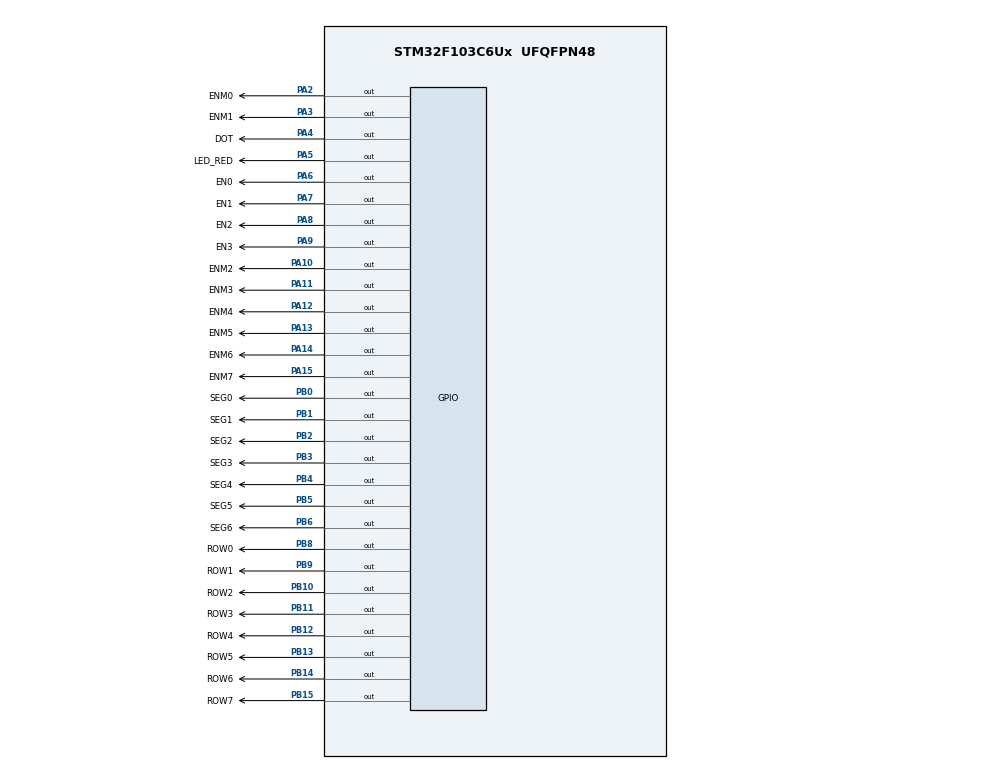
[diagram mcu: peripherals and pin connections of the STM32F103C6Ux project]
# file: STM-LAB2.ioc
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Mcu.Family=STM32F1
Mcu.Name=STM32F103C6Ux
Mcu.Package=UFQFPN48
NVIC.PriorityGroup=NVIC_PRIORITYGROUP_4
NVIC.TIM2_IRQn=true\:0\:0\:false\:false\:true\:true\:true
PA10.GPIO_Label=ENM2
PA10.Signal=GPIO_Output
PA11.GPIO_Label=ENM3
PA11.Signal=GPIO_Output
PA12.GPIO_Label=ENM4
PA12.Signal=GPIO_Output
PA13.GPIO_Label=ENM5
PA13.Signal=GPIO_Output
PA14.GPIO_Label=ENM6
PA14.Signal=GPIO_Output
PA15.GPIO_Label=ENM7
PA15.Signal=GPIO_Output
PA2.GPIO_Label=ENM0
PA2.Signal=GPIO_Output
PA3.GPIO_Label=ENM1
PA3.Signal=GPIO_Output
PA4.GPIO_Label=DOT
PA4.Signal=GPIO_Output
PA5.GPIO_Label=LED_RED
PA5.Signal=GPIO_Output
PA6.GPIO_Label=EN0
PA6.Signal=GPIO_Output
PA7.GPIO_Label=EN1
PA7.Signal=GPIO_Output
PA8.GPIO_Label=EN2
PA8.Signal=GPIO_Output
PA9.GPIO_Label=EN3
PA9.Signal=GPIO_Output
PB0.GPIO_Label=SEG0
PB0.Signal=GPIO_Output
PB1.GPIO_Label=SEG1
PB1.Signal=GPIO_Output
PB10.GPIO_Label=ROW2
PB10.Signal=GPIO_Output
PB11.GPIO_Label=ROW3
PB11.Signal=GPIO_Output
PB12.GPIO_Label=ROW4
PB12.Signal=GPIO_Output
PB13.GPIO_Label=ROW5
PB13.Signal=GPIO_Output
PB14.GPIO_Label=ROW6
PB14.Signal=GPIO_Output
PB15.GPIO_Label=ROW7
PB15.Signal=GPIO_Output
PB2.GPIO_Label=SEG2
PB2.Signal=GPIO_Output
PB3.GPIO_Label=SEG3
PB3.Signal=GPIO_Output
PB4.GPIO_Label=SEG4
PB4.Signal=GPIO_Output
PB5.GPIO_Label=SEG5
PB5.Signal=GPIO_Output
PB6.GPIO_Label=SEG6
PB6.Signal=GPIO_Output
PB8.GPIO_Label=ROW0
PB8.Signal=GPIO_Output
PB9.GPIO_Label=ROW1
PB9.Signal=GPIO_Output
ProjectManager.HeapSize=0x200
ProjectManager.StackSize=0x400
ProjectManager.TargetToolchain=STM32CubeIDE
RCC.APB1Freq_Value=8000000
RCC.APB2Freq_Value=8000000
TIM2.Prescaler=7999
VP_SYS_VS_ND.Mode=No_Debug
VP_TIM2_VS_ClockSourceINT.Mode=Internal
board=custom

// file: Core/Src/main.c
/* USER CODE BEGIN Header */
/**
  ******************************************************************************
  * @file           : main.c
  * @brief          : Main program body
  ******************************************************************************
  * @attention
  *
  * <h2><center>&copy; Copyright (c) 2025 STMicroelectronics.
  * All rights reserved.</center></h2>
  *
  * This software component is licensed by ST under BSD 3-Clause license,
  * the "License"; You may not use this file except in compliance with the
  * License. You may obtain a copy of the License at:
  *                        opensource.org/licenses/BSD-3-Clause
  *
  ******************************************************************************
  */
/* USER CODE END Header */
#include "main.h"

TIM_HandleTypeDef htim2;

void SystemClock_Config(void);
static void MX_GPIO_Init(void);
static void MX_TIM2_Init(void);
/* USER CODE BEGIN PFP */
void display7SEG(int num);
void update7SEG(int index);
void displayLEDMatrix(int num);
void updateLEDMatrix(uint8_t index);
void LEDMatrixAnimation();
void updateClockBuffer();
void setSegTimer(int duration);
void setDotTimer(int duration);
void setClockTimer(int duration);
void setMatrixTimer(int duration);
void setAnimationTimer(int duration);
void timer_run();
void ledClear();
void matrixClear();
/* USER CODE END PFP */

/* USER CODE BEGIN 0 */
// Define 4 seven-segment states
enum segState {seg0 = 0, seg1 = 1, seg2 = 2, seg3 = 3};
enum segState seg = seg0;
// Create an enable pins array to control all 4 seven-segment
int controll7SegPin[4] = {EN0_Pin, EN1_Pin, EN2_Pin, EN3_Pin};
// Create two arrays to control 8 columns and 8 rows of LED matrix
int colPin[8] = {ENM0_Pin, ENM1_Pin, ENM2_Pin, ENM3_Pin, ENM4_Pin, ENM5_Pin, ENM6_Pin, ENM7_Pin};
int rowPin[8] = {ROW0_Pin, ROW1_Pin, ROW2_Pin, ROW3_Pin, ROW4_Pin, ROW5_Pin, ROW6_Pin, ROW7_Pin};
const int MAX_LED = 4;
const int MAX_LED_MATRIX = 8;
int index_led = 0;
int led_buffer[4] = {1, 2, 3, 4};
int index_led_matrix = 0;
uint8_t matrix_buffer[8] = {0b11100111, 0b11000011, 0b10011001, 0b10011001,
							0b10000001, 0b10000001, 0b10011001, 0b10011001};
int hour = 15, minute = 8, second = 50;
int segTimer_counter = 0;
int segTimer_flag = 0;
int dotTimer_counter = 0;
int dotTimer_flag = 0;
int clockTimer_counter = 0;
int clockTimer_flag = 0;
int matrixTimer_counter = 0;
int matrixTimer_flag = 0;
int animationTimer_counter = 0;
int animationTimer_flag = 0;
int TIMER_CYCLE = 1;

/* USER CODE END 0 */

int main(void)
{

  /* MCU Configuration--------------------------------------------------------*/

  /* Reset of all peripherals, Initializes the Flash interface and the Systick. */
  HAL_Init();

  /* Configure the system clock */
  SystemClock_Config();

  /* Initialize all configured peripherals */
  MX_GPIO_Init();
  MX_TIM2_Init();
  /* USER CODE BEGIN 2 */
  setSegTimer(100);
  setDotTimer(500);
  setClockTimer(1000);
  setMatrixTimer(2);
  setAnimationTimer(100);
  HAL_TIM_Base_Start_IT(&htim2);
  /* USER CODE END 2 */

  /* Infinite loop */
  /* USER CODE BEGIN WHILE */
  while (1)
  {
	  // UPDATE SEVEN-SEGMENTS
	  if (segTimer_flag == 1) {
		  updateClockBuffer();
		  update7SEG(index_led++);
		  if (index_led >= 4) index_led = 0;
		  setSegTimer(100);
	  }
	  // UPDATE LED RED AND DOT
	  if (dotTimer_flag == 1) {
		  HAL_GPIO_TogglePin(DOT_GPIO_Port, DOT_Pin);
		  HAL_GPIO_TogglePin(LED_RED_GPIO_Port, LED_RED_Pin);
		  setDotTimer(500);
	  }
	  // UPDATE CLOCK
	  if (clockTimer_flag == 1) {
		  second++;
		  if (second >= 60) {
			  second = 0;
			  minute++;
		  }
		  if(minute >= 60) {
			  minute = 0;
			  hour++;
		   }
		   if(hour >= 24){
			  hour = 0;
		   }
		  updateClockBuffer();
		  setClockTimer(1000);
	  }
	  // UPDATE LED MATRIX
	  if (matrixTimer_flag == 1) {
		  updateLEDMatrix(index_led_matrix++);
		  if (index_led_matrix > 7) index_led_matrix = 0;
		  setMatrixTimer(2);
	  }
	  // UPDATE LED MATRIX ANIMATION
	  if (animationTimer_flag == 1) {
		  LEDMatrixAnimation();
		  setAnimationTimer(100);
	  }
    /* USER CODE END WHILE */

  }
}

void SystemClock_Config(void)
{
  RCC_OscInitTypeDef RCC_OscInitStruct = {0};
  RCC_ClkInitTypeDef RCC_ClkInitStruct = {0};

  /** Initializes the RCC Oscillators according to the specified parameters
  * in the RCC_OscInitTypeDef structure.
  */
  RCC_OscInitStruct.OscillatorType = RCC_OSCILLATORTYPE_HSI;
  RCC_OscInitStruct.HSIState = RCC_HSI_ON;
  RCC_OscInitStruct.HSICalibrationValue = RCC_HSICALIBRATION_DEFAULT;
  RCC_OscInitStruct.PLL.PLLState = RCC_PLL_NONE;
  if (HAL_RCC_OscConfig(&RCC_OscInitStruct) != HAL_OK)
  {
    Error_Handler();
  }
  /** Initializes the CPU, AHB and APB buses clocks
  */
  RCC_ClkInitStruct.ClockType = RCC_CLOCKTYPE_HCLK|RCC_CLOCKTYPE_SYSCLK
                              |RCC_CLOCKTYPE_PCLK1|RCC_CLOCKTYPE_PCLK2;
  RCC_ClkInitStruct.SYSCLKSource = RCC_SYSCLKSOURCE_HSI;
  RCC_ClkInitStruct.AHBCLKDivider = RCC_SYSCLK_DIV1;
  RCC_ClkInitStruct.APB1CLKDivider = RCC_HCLK_DIV1;
  RCC_ClkInitStruct.APB2CLKDivider = RCC_HCLK_DIV1;

  if (HAL_RCC_ClockConfig(&RCC_ClkInitStruct, FLASH_LATENCY_0) != HAL_OK)
  {
    Error_Handler();
  }
}

static void MX_TIM2_Init(void)
{

  TIM_ClockConfigTypeDef sClockSourceConfig = {0};
  TIM_MasterConfigTypeDef sMasterConfig = {0};

  htim2.Instance = TIM2;
  htim2.Init.Prescaler = 7999;
  htim2.Init.CounterMode = TIM_COUNTERMODE_UP;
  htim2.Init.Period = 9;
  htim2.Init.ClockDivision = TIM_CLOCKDIVISION_DIV1;
  htim2.Init.AutoReloadPreload = TIM_AUTORELOAD_PRELOAD_DISABLE;
  if (HAL_TIM_Base_Init(&htim2) != HAL_OK)
  {
    Error_Handler();
  }
  sClockSourceConfig.ClockSource = TIM_CLOCKSOURCE_INTERNAL;
  if (HAL_TIM_ConfigClockSource(&htim2, &sClockSourceConfig) != HAL_OK)
  {
    Error_Handler();
  }
  sMasterConfig.MasterOutputTrigger = TIM_TRGO_RESET;
  sMasterConfig.MasterSlaveMode = TIM_MASTERSLAVEMODE_DISABLE;
  if (HAL_TIMEx_MasterConfigSynchronization(&htim2, &sMasterConfig) != HAL_OK)
  {
    Error_Handler();
  }

}

static void MX_GPIO_Init(void)
{
  GPIO_InitTypeDef GPIO_InitStruct = {0};

  /* GPIO Ports Clock Enable */
  __HAL_RCC_GPIOA_CLK_ENABLE();
  __HAL_RCC_GPIOB_CLK_ENABLE();

  /*Configure GPIO pin Output Level */
  HAL_GPIO_WritePin(GPIOA, ENM0_Pin|ENM1_Pin|DOT_Pin|LED_RED_Pin
                          |EN0_Pin|EN1_Pin|EN2_Pin|EN3_Pin
                          |ENM2_Pin|ENM3_Pin|ENM4_Pin|ENM5_Pin
                          |ENM6_Pin|ENM7_Pin, GPIO_PIN_RESET);

  /*Configure GPIO pin Output Level */
  HAL_GPIO_WritePin(GPIOB, SEG0_Pin|SEG1_Pin|SEG2_Pin|ROW2_Pin
                          |ROW3_Pin|ROW4_Pin|ROW5_Pin|ROW6_Pin
                          |ROW7_Pin|SEG3_Pin|SEG4_Pin|SEG5_Pin
                          |SEG6_Pin|ROW0_Pin|ROW1_Pin, GPIO_PIN_RESET);

  /*Configure GPIO pins : ENM0_Pin ENM1_Pin DOT_Pin LED_RED_Pin
                           EN0_Pin EN1_Pin EN2_Pin EN3_Pin
                           ENM2_Pin ENM3_Pin ENM4_Pin ENM5_Pin
                           ENM6_Pin ENM7_Pin */
  GPIO_InitStruct.Pin = ENM0_Pin|ENM1_Pin|DOT_Pin|LED_RED_Pin
                          |EN0_Pin|EN1_Pin|EN2_Pin|EN3_Pin
                          |ENM2_Pin|ENM3_Pin|ENM4_Pin|ENM5_Pin
                          |ENM6_Pin|ENM7_Pin;
  GPIO_InitStruct.Mode = GPIO_MODE_OUTPUT_PP;
  GPIO_InitStruct.Pull = GPIO_NOPULL;
  GPIO_InitStruct.Speed = GPIO_SPEED_FREQ_LOW;
  HAL_GPIO_Init(GPIOA, &GPIO_InitStruct);

  /*Configure GPIO pins : SEG0_Pin SEG1_Pin SEG2_Pin ROW2_Pin
                           ROW3_Pin ROW4_Pin ROW5_Pin ROW6_Pin
                           ROW7_Pin SEG3_Pin SEG4_Pin SEG5_Pin
                           SEG6_Pin ROW0_Pin ROW1_Pin */
  GPIO_InitStruct.Pin = SEG0_Pin|SEG1_Pin|SEG2_Pin|ROW2_Pin
                          |ROW3_Pin|ROW4_Pin|ROW5_Pin|ROW6_Pin
                          |ROW7_Pin|SEG3_Pin|SEG4_Pin|SEG5_Pin
                          |SEG6_Pin|ROW0_Pin|ROW1_Pin;
  GPIO_InitStruct.Mode = GPIO_MODE_OUTPUT_PP;
  GPIO_InitStruct.Pull = GPIO_NOPULL;
  GPIO_InitStruct.Speed = GPIO_SPEED_FREQ_LOW;
  HAL_GPIO_Init(GPIOB, &GPIO_InitStruct);

}

/* USER CODE BEGIN 4 */
void HAL_TIM_PeriodElapsedCallback(TIM_HandleTypeDef *htim)
{
	timer_run();
}
void display7SEG(int num) {
		/*
		 * TRUTH TABLE
		 *      dp g f e d c b a
		 * 0 => 1 1 0 0 0 0 0 0 => 0xC0
		 * 1 => 1 1 1 1 1 0 0 1 => 0xF9
		 * 2 => 1 1 1 0 0 1 0 0 => 0xA4
		 * 3 => 1 0 1 1 0 0 0 0 => 0xB0
		 * 4 => 1 0 0 1 1 0 0 1 => 0x99
		 * 5 => 1 0 0 1 0 0 1 0 => 0x92
		 * 6 => 1 0 0 0 0 0 1 0 => 0x82
		 * 7 => 1 1 1 1 1 0 0 0 => 0xF8
		 * 8 => 1 0 0 0 0 0 0 0 => 0x80
		 * 9 => 1 0 0 1 0 0 0 0 => 0x90
		 */
	char ledNum[10] = {0xC0, 0xF9, 0xA4, 0xB0, 0x99, 0x92, 0x82, 0xF8, 0x80, 0x90};
	for (int i = 0; i < 7; i++) {
		// Shift GPIO_PIN_0 left by i, right shift so the bit for segment i is in the LSB position
		HAL_GPIO_WritePin(GPIOB, GPIO_PIN_0 << i, (ledNum[num] >> i) & 1);
	}
}
void update7SEG(int index) {
	ledClear();
	switch (index){
	case 0:
		// Display the first 7 SEG with led_buffer [0]
		HAL_GPIO_WritePin(GPIOA, controll7SegPin[index], RESET);
		display7SEG(led_buffer[0]);
		break;
	case 1:
		// Display the second 7 SEG with led_buffer [1]
		HAL_GPIO_WritePin(GPIOA, controll7SegPin[index], RESET);
		display7SEG(led_buffer[1]);
		break;
	case 2:
		// Display the third 7 SEG with led_buffer [2]
		HAL_GPIO_WritePin(GPIOA, controll7SegPin[index], RESET);
		display7SEG(led_buffer[2]);
		break;
	case 3:
		// Display the fourth 7 SEG with led_buffer [3]
		HAL_GPIO_WritePin(GPIOA, controll7SegPin[index], RESET);
		display7SEG(led_buffer[3]);
		break;
	default:
		break;
	}
}
void displayLEDMatrix(int num) {
	for (int i = 0; i < 8; i++) {
		HAL_GPIO_WritePin(GPIOA,  colPin[i], (matrix_buffer[num] >> i) & 1);
	}
}
void updateLEDMatrix(uint8_t index) {
	matrixClear();
	switch (index) {
		case 0:
			// Display the first row
			HAL_GPIO_WritePin(GPIOB, rowPin[index], RESET);
			displayLEDMatrix(0);
			break ;
		case 1:
			// Display the second row
			HAL_GPIO_WritePin(GPIOB, rowPin[index], RESET);
			displayLEDMatrix(1);
			break ;
		case 2:
			// Display the third row
			HAL_GPIO_WritePin(GPIOB, rowPin[index], RESET);
			displayLEDMatrix(2);
			break ;
		case 3:
			// Display the fourth row
			HAL_GPIO_WritePin(GPIOB, rowPin[index], RESET);
			displayLEDMatrix(3);
			break ;
		case 4:
			// Display the fifth row
			HAL_GPIO_WritePin(GPIOB, rowPin[index], RESET);
			displayLEDMatrix(4);
		break ;
			case 5:
			// Display the sixth row
			HAL_GPIO_WritePin(GPIOB, rowPin[index], RESET);
			displayLEDMatrix(5);
			break;
		case 6:
			// Display the seventh row
			HAL_GPIO_WritePin(GPIOB, rowPin[index], RESET);
			displayLEDMatrix(6);
			break ;
		case 7:
			// Display the eighth row
			HAL_GPIO_WritePin(GPIOB, rowPin[index], RESET);
			displayLEDMatrix(7);
			break ;
		default:
			break;
	}
}
void LEDMatrixAnimation() {
	for (int i = 0; i < 8; i++) {
		uint8_t temp = (matrix_buffer[i] & 0b00000001) << 7;
		matrix_buffer[i] = (matrix_buffer[i] >> 1) | temp;
	}
}
void updateClockBuffer() {
	// Generate values for led_buffer base on the values of hour and minute
	led_buffer[0] = hour / 10;
	led_buffer[1] = hour % 10;
	led_buffer[2] = minute / 10;
	led_buffer[3] = minute % 10;
}
void setSegTimer(int duration) {
	segTimer_counter = duration / TIMER_CYCLE;
	segTimer_flag = 0;
}
void setDotTimer(int duration) {
	dotTimer_counter = duration / TIMER_CYCLE;
	dotTimer_flag = 0;
}
void setClockTimer(int duration){
	clockTimer_counter = duration / TIMER_CYCLE;
	clockTimer_flag = 0;
}
void setMatrixTimer(int duration){
	matrixTimer_counter = duration / TIMER_CYCLE;
	matrixTimer_flag = 0;
}
void setAnimationTimer(int duration){
	animationTimer_counter = duration / TIMER_CYCLE;
	animationTimer_flag = 0;
}
void timer_run(){
	if (segTimer_counter > 0) {
		segTimer_counter--;
		if (segTimer_counter == 0) segTimer_flag = 1;
	}
	if (dotTimer_counter > 0) {
		dotTimer_counter--;
		if (dotTimer_counter == 0) dotTimer_flag = 1;
	}
	if (clockTimer_counter > 0) {
		clockTimer_counter--;
		if (clockTimer_counter == 0) clockTimer_flag = 1;
	}
	if (animationTimer_counter > 0) {
		animationTimer_counter--;
		if (animationTimer_counter == 0) animationTimer_flag = 1;
	}
	if (matrixTimer_counter > 0) {
		matrixTimer_counter--;
		if (matrixTimer_counter == 0) matrixTimer_flag = 1;
	}
}
void ledClear() {
	HAL_GPIO_WritePin(GPIOA, EN0_Pin | EN1_Pin | EN2_Pin | EN3_Pin, SET);
	HAL_GPIO_WritePin(GPIOB, SEG0_Pin | SEG1_Pin | SEG2_Pin |
			SEG3_Pin | SEG4_Pin | SEG5_Pin | SEG6_Pin, SET);
}
void matrixClear() {
	HAL_GPIO_WritePin(GPIOB, ROW0_Pin | ROW1_Pin | ROW2_Pin | ROW3_Pin | ROW4_Pin
			| ROW5_Pin | ROW6_Pin | ROW7_Pin, SET);
	HAL_GPIO_WritePin(GPIOA, ENM0_Pin | ENM1_Pin | ENM2_Pin | ENM3_Pin| ENM4_Pin
			| ENM5_Pin| ENM6_Pin| ENM7_Pin, SET);
}
/* USER CODE END 4 */

void Error_Handler(void)
{
  __disable_irq();
  while (1)
  {
  }
}

/************************ (C) COPYRIGHT STMicroelectronics *****END OF FILE****/
